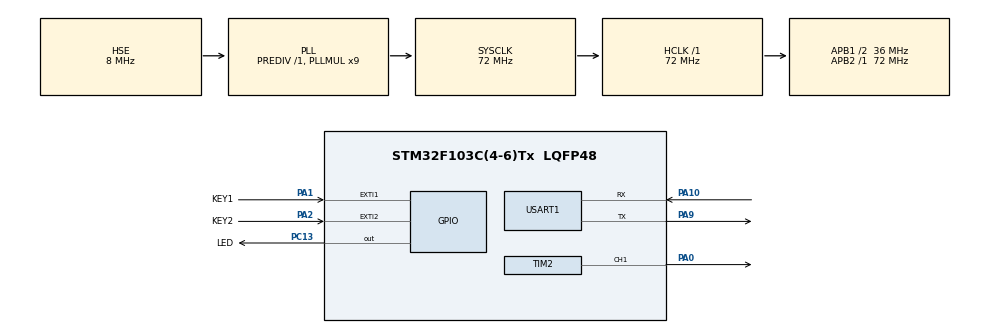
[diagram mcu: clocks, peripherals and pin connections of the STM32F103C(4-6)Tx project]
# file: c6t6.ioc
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Dma.Request0=TIM2_CH1
Dma.TIM2_CH1.0.Direction=DMA_MEMORY_TO_PERIPH
Dma.TIM2_CH1.0.Instance=DMA1_Channel5
Dma.TIM2_CH1.0.MemDataAlignment=DMA_MDATAALIGN_HALFWORD
Dma.TIM2_CH1.0.MemInc=DMA_MINC_ENABLE
Dma.TIM2_CH1.0.Mode=DMA_CIRCULAR
Dma.TIM2_CH1.0.PeriphDataAlignment=DMA_PDATAALIGN_HALFWORD
Dma.TIM2_CH1.0.PeriphInc=DMA_PINC_DISABLE
Dma.TIM2_CH1.0.Priority=DMA_PRIORITY_LOW
Mcu.Family=STM32F1
Mcu.Name=STM32F103C(4-6)Tx
Mcu.Package=LQFP48
NVIC.DMA1_Channel5_IRQn=true\:0\:0\:false\:false\:true\:false\:true\:true
NVIC.EXTI1_IRQn=true\:1\:0\:true\:false\:true\:true\:true\:true
NVIC.EXTI2_IRQn=true\:1\:0\:true\:false\:true\:true\:true\:true
NVIC.PriorityGroup=NVIC_PRIORITYGROUP_4
PA0-WKUP.Signal=S_TIM2_CH1_ETR
PA1.GPIO_Label=KEY1
PA1.GPIO_ModeDefaultEXTI=GPIO_MODE_IT_FALLING
PA1.GPIO_PuPd=GPIO_PULLUP
PA1.Signal=GPXTI1
PA10.Mode=Asynchronous
PA10.Signal=USART1_RX
PA13.Mode=Serial_Wire
PA13.Signal=SYS_JTMS-SWDIO
PA14.Mode=Serial_Wire
PA14.Signal=SYS_JTCK-SWCLK
PA2.GPIO_Label=KEY2
PA2.GPIO_ModeDefaultEXTI=GPIO_MODE_IT_FALLING
PA2.GPIO_PuPd=GPIO_PULLUP
PA2.Signal=GPXTI2
PA9.Mode=Asynchronous
PA9.Signal=USART1_TX
PC13-TAMPER-RTC.GPIO_Label=LED
PC13-TAMPER-RTC.Signal=GPIO_Output
PD0-OSC_IN.Mode=HSE-External-Oscillator
PD0-OSC_IN.Signal=RCC_OSC_IN
PD1-OSC_OUT.Mode=HSE-External-Oscillator
PD1-OSC_OUT.Signal=RCC_OSC_OUT
ProjectManager.HeapSize=0x200
ProjectManager.StackSize=0x400
ProjectManager.TargetToolchain=MDK-ARM V5.32
RCC.AHBFreq_Value=72000000
RCC.APB1CLKDivider=RCC_HCLK_DIV2
RCC.APB1Freq_Value=36000000
RCC.APB1TimFreq_Value=72000000
RCC.APB2Freq_Value=72000000
RCC.APB2TimFreq_Value=72000000
RCC.HCLKFreq_Value=72000000
RCC.PLLMUL=RCC_PLL_MUL9
RCC.PLLSourceVirtual=RCC_PLLSOURCE_HSE
RCC.SYSCLKFreq_VALUE=72000000
RCC.SYSCLKSource=RCC_SYSCLKSOURCE_PLLCLK
RCC.USBFreq_Value=72000000
SH.S_TIM2_CH1_ETR.0=TIM2_CH1,PWM Generation1 CH1
TIM2.Channel-PWM\ Generation1\ CH1=TIM_CHANNEL_1
TIM2.Period=89
USART1.VirtualMode=VM_ASYNC
VP_TIM2_VS_ClockSourceINT.Mode=Internal
board=custom

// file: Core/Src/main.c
/* USER CODE BEGIN Header */
/**
  ******************************************************************************
  * @file           : main.c
  * @brief          : Main program body
  ******************************************************************************
  * @attention
  *
  * Copyright (c) 2022 STMicroelectronics.
  * All rights reserved.
  *
  * This software is licensed under terms that can be found in the LICENSE file
  * in the root directory of this software component.
  * If no LICENSE file comes with this software, it is provided AS-IS.
  *
  ******************************************************************************
  */
/* USER CODE END Header */
#include "main.h"
#include "dma.h"
#include "tim.h"
#include "usart.h"
#include "gpio.h"

/* USER CODE BEGIN Includes */
#include "stdio.h"
#include "WS2812B.h"
#include "stmflash.h"
/* USER CODE END Includes */

/* USER CODE BEGIN PTD */
#define SAVE_MARK_ADDR 0x08004000		//fresh 更新标记
#define SAVE_ADDR 0x08004200				//fresh 写入

#define LED_NUM		5
/* USER CODE END PTD */

/* USER CODE BEGIN PV */

uint32_t t;
uint16_t i,j,temp[3], flag=0;

uint16_t flash_init_temp[2]={0};
uint16_t SAVE_MARK[2] = {11,11};
uint16_t SAVE_BUFFER[24];

//自定义rgb颜色数组
/****RGB颜色表****
//uint8_t white[3] = {255,255,255};
//uint8_t red[3] = {255,0,0};
//uint8_t green[3] = {0,255,0};
//uint8_t blue[3] = {0,0,255};
//uint8_t cyan[3] = {0,255,255};
//uint8_t purple[3] = {255,0,255};
//uint8_t yellow[3] = {255,255,0};
//uint8_t orange[3] = {255,97,0};
//uint8_t brown[3] = {128,42,42};
//uint8_t pink[3] = {255,192,203};
//uint8_t D_green[3] = {48,128,20};
//uint8_t D_blue[3] = {25,25,112};
*/

uint8_t change_rgb_init[LED_NUM][3] = {
	{50,225,50},
	{250,50,125},
	{131,71,205},
	{68,117,249},
	{214,235,255}
};

uint8_t change_rgb[LED_NUM][3];

uint8_t rgb0[][3] = {0,0,0};
/* USER CODE END PV */

void SystemClock_Config(void);

int main(void)
{

  /* MCU Configuration--------------------------------------------------------*/

  /* Reset of all peripherals, Initializes the Flash interface and the Systick. */
  HAL_Init();

  /* Configure the system clock */
  SystemClock_Config();

  /* Initialize all configured peripherals */
  MX_GPIO_Init();
  MX_DMA_Init();
  MX_TIM2_Init();
  MX_USART1_UART_Init();
  /* USER CODE BEGIN 2 */

   printf("串口打印正常!\r\n");

	//将初始化数据赋值 PWM输出数组 和 flash存储数组
	for(i=0;i<LED_NUM;i++)
	{
		for(j=0;j<3;j++)
		{
			change_rgb[i][j] = change_rgb_init[i][j];
			SAVE_BUFFER[i*3+j] = change_rgb_init[i][j];
		}
	}

	//读取判断位
	STMFLASH_Read(SAVE_MARK_ADDR, flash_init_temp, 2);
	printf("%d\t",flash_init_temp[0]);
	printf("%d\r\n",flash_init_temp[1]);

	//如果写入，则读取flash数据
	if(flash_init_temp[0] == SAVE_MARK[0] && flash_init_temp[1] == SAVE_MARK[1])
	{
		printf("read from flash\r\n");
		STMFLASH_Read(SAVE_ADDR, SAVE_BUFFER, LED_NUM*3);
		for(i=0;i<LED_NUM*3;i++)
		{
			printf("%d ",SAVE_BUFFER[i]);
		}
		printf("\r\n");

		for(i=0;i<LED_NUM;i++)
		{
			for(j=0;j<3;j++)
			{
				change_rgb[i][j] = SAVE_BUFFER[i*3+j];
			}
		}
	}
	//如果未写入，则写出初始化数据
	else
	{
		printf("init flash\r\n");
		STMFLASH_Write(SAVE_MARK_ADDR, SAVE_MARK, 2);				//FLASH更新标志位写入
		STMFLASH_Read(SAVE_MARK_ADDR, SAVE_MARK, 2);
		for(i=0;i<2;i++)
		{
			printf("%d ",SAVE_MARK[i]);
		}
		printf("\r\n");

		STMFLASH_Write(SAVE_ADDR, SAVE_BUFFER, LED_NUM*3);	//flash颜色数据写入
		STMFLASH_Read(SAVE_ADDR, SAVE_BUFFER, LED_NUM*3);
		for(i=0;i<LED_NUM*3;i++)
		{
			printf("%d ",SAVE_BUFFER[i]);
		}
		printf("\r\n");
	}

	//setoff all light
	WS2812_led_send(rgb0,8);
	HAL_Delay(5);

	WS2812_ledsingle_send(change_rgb,LED_NUM);
	HAL_Delay(5);

  /* USER CODE END 2 */

  /* Infinite loop */
  /* USER CODE BEGIN WHILE */
  while (1)
  {

		if(flag == 1)
		{
			for(i=0;i+1<LED_NUM;i++)
			{
				for(j=0;j<3;j++)
				{
					temp[j] = change_rgb[i][j];
					change_rgb[i][j] = change_rgb[i+1][j];
					change_rgb[i+1][j] = temp[j];
				}
			}

			WS2812_ledsingle_send(change_rgb,LED_NUM);
			HAL_Delay(200);

			//write flash
			for(i=0;i<LED_NUM;i++)
			{
				for(j=0;j<3;j++)
				{
					SAVE_BUFFER[i*3+j] = change_rgb[i][j];
				}
			}
			printf("key1 press \r\n");
			STMFLASH_Write(SAVE_ADDR, SAVE_BUFFER, LED_NUM*3);
//			STMFLASH_Read(SAVE_ADDR, SAVE_BUFFER, LED_NUM*3);
//			for(i=0;i<LED_NUM*3;i++)
//			{
//				printf("%d ",SAVE_BUFFER[i]);
//			}
//			printf("\r\n");

			//重置按键标志位
			flag = 0;
		}

		if(flag == 2)
		{
			for(i=1;i+1<LED_NUM;i++)
			{
				for(j=0;j<3;j++)
				{
					temp[j] = change_rgb[i][j];
					change_rgb[i][j] = change_rgb[i+1][j];
					change_rgb[i+1][j] = temp[j];
				}
			}
			WS2812_ledsingle_send(change_rgb,LED_NUM);
			HAL_Delay(200);

			//write flash
			for(i=0;i<LED_NUM;i++)
			{
				for(j=0;j<3;j++)
				{
					SAVE_BUFFER[i*3+j] = change_rgb[i][j];
				}
			}
			printf("key2 press \r\n");
			STMFLASH_Write(SAVE_ADDR, SAVE_BUFFER, LED_NUM*3);
//			STMFLASH_Read(SAVE_ADDR, SAVE_BUFFER, LED_NUM*3);
//			for(i=0;i<LED_NUM*3;i++)
//			{
//				printf("%d ",SAVE_BUFFER[i]);
//			}
//			printf("\r\n");

			//重置按键标志位
			flag = 0;
		}

    /* USER CODE END WHILE */

  }
}

void SystemClock_Config(void)
{
  RCC_OscInitTypeDef RCC_OscInitStruct = {0};
  RCC_ClkInitTypeDef RCC_ClkInitStruct = {0};

  /** Initializes the RCC Oscillators according to the specified parameters
  * in the RCC_OscInitTypeDef structure.
  */
  RCC_OscInitStruct.OscillatorType = RCC_OSCILLATORTYPE_HSE;
  RCC_OscInitStruct.HSEState = RCC_HSE_ON;
  RCC_OscInitStruct.HSEPredivValue = RCC_HSE_PREDIV_DIV1;
  RCC_OscInitStruct.HSIState = RCC_HSI_ON;
  RCC_OscInitStruct.PLL.PLLState = RCC_PLL_ON;
  RCC_OscInitStruct.PLL.PLLSource = RCC_PLLSOURCE_HSE;
  RCC_OscInitStruct.PLL.PLLMUL = RCC_PLL_MUL9;
  if (HAL_RCC_OscConfig(&RCC_OscInitStruct) != HAL_OK)
  {
    Error_Handler();
  }

  /** Initializes the CPU, AHB and APB buses clocks
  */
  RCC_ClkInitStruct.ClockType = RCC_CLOCKTYPE_HCLK|RCC_CLOCKTYPE_SYSCLK
                              |RCC_CLOCKTYPE_PCLK1|RCC_CLOCKTYPE_PCLK2;
  RCC_ClkInitStruct.SYSCLKSource = RCC_SYSCLKSOURCE_PLLCLK;
  RCC_ClkInitStruct.AHBCLKDivider = RCC_SYSCLK_DIV1;
  RCC_ClkInitStruct.APB1CLKDivider = RCC_HCLK_DIV2;
  RCC_ClkInitStruct.APB2CLKDivider = RCC_HCLK_DIV1;

  if (HAL_RCC_ClockConfig(&RCC_ClkInitStruct, FLASH_LATENCY_2) != HAL_OK)
  {
    Error_Handler();
  }
}

/* USER CODE BEGIN 4 */

//exterinal break callback
void HAL_GPIO_EXTI_Callback(uint16_t GPIO_Pin)
{
	HAL_Delay(10);
	printf("GPIO_Pin %d \r\n",GPIO_Pin);
//	HAL_GPIO_TogglePin(GPIOC, GPIO_PIN_13);
	//key1 pressed
	if(GPIO_Pin == GPIO_PIN_1){
		flag = 1;
		HAL_GPIO_WritePin(GPIOC, GPIO_PIN_13, GPIO_PIN_SET);
	}

	//key2 pressed
	if(GPIO_Pin == GPIO_PIN_2){
		flag = 2;
		HAL_GPIO_WritePin(GPIOC, GPIO_PIN_13, GPIO_PIN_RESET);
	}
}

//PWM callback
void HAL_TIM_PWM_PulseFinishedCallback(TIM_HandleTypeDef *htim)
{
		HAL_TIM_PWM_Stop_DMA(&htim2,TIM_CHANNEL_1);
}

/* USER CODE END 4 */

void Error_Handler(void)
{
  __disable_irq();
  while (1)
  {
  }
}
